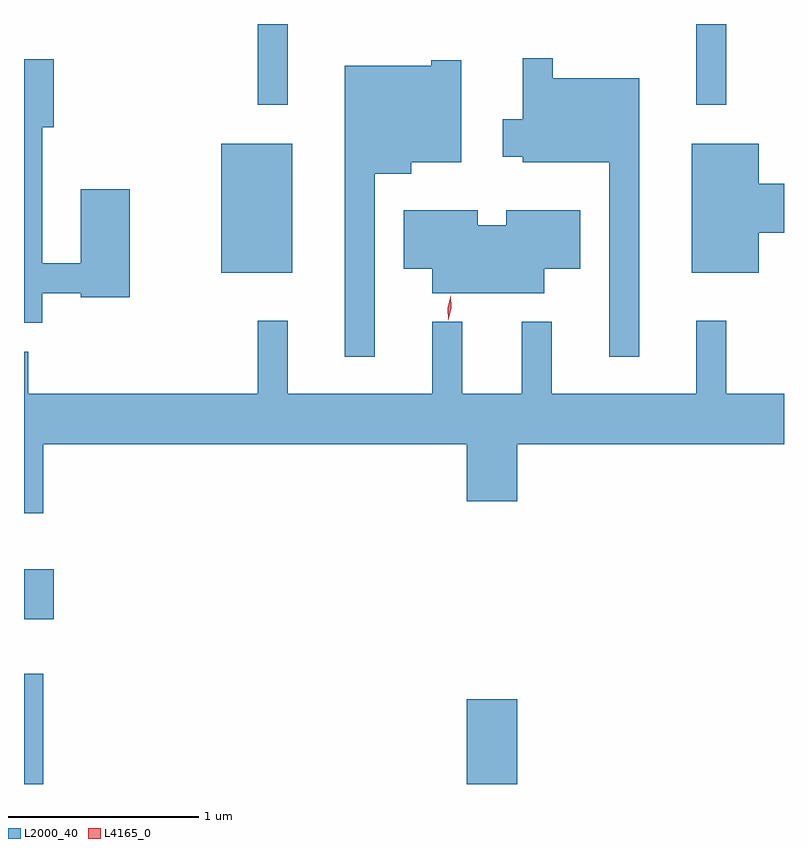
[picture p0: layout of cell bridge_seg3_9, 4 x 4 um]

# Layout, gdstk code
import gdstk
lib = gdstk.Library(unit=1e-6, precision=1e-09)
def R(c, l, rs):  # rectangles x0, y0, x1, y1
    for r in rs: c.add(gdstk.rectangle(r[:2], r[2:], *l))
def P(c, l, *ps):  # polygons
    for p in ps: c.add(gdstk.Polygon(p, *l))
L2000_40 = (2000, 40)
L4165_0 = (4165, 0)

bridge_seg3_9 = lib.new_cell('bridge_seg3_9')
R(bridge_seg3_9, L2000_40, [(1791.167,1204.149,1791.269,1204.728), (1793.496,1204.149,1793.764,1204.594), (1791.167,1205.016,1791.324,1205.279), (1792.206,1206.841,1792.579,1207.519), (1792.396,1207.723,1792.554,1208.149), (1794.706,1207.723,1794.864,1208.149)])
P(bridge_seg3_9, L2000_40, [(1794.404,1207.864),(1793.949,1207.864),(1793.949,1207.968),(1793.791,1207.968),(1793.791,1207.649),(1793.686,1207.649),(1793.686,1207.451),(1793.791,1207.451),(1793.791,1207.421),(1794.246,1207.421),(1794.246,1206.398),(1794.404,1206.398)],
  [(1791.264,1206.731),(1791.466,1206.731),(1791.466,1206.711),(1791.724,1206.711),(1791.724,1207.279),(1791.466,1207.279),(1791.466,1206.889),(1791.264,1206.889),(1791.264,1207.606),(1791.324,1207.606),(1791.324,1207.964),(1791.167,1207.964),(1791.167,1206.576),(1791.264,1206.576)],
  [(1793.014,1207.361),(1793.204,1207.361),(1793.204,1207.421),(1793.469,1207.421),(1793.469,1207.959),(1793.311,1207.959),(1793.311,1207.929),(1792.856,1207.929),(1792.856,1206.398),(1793.014,1206.398)],
  [(1795.034,1207.051),(1795.167,1207.051),(1795.167,1207.309),(1795.034,1207.309),(1795.034,1207.519),(1794.681,1207.519),(1794.681,1206.841),(1795.034,1206.841)],
  [(1793.904,1206.861),(1794.094,1206.861),(1794.094,1207.169),(1793.706,1207.169),(1793.706,1207.089),(1793.554,1207.089),(1793.554,1207.169),(1793.166,1207.169),(1793.166,1206.861),(1793.316,1206.861),(1793.316,1206.731),(1793.904,1206.731)],
  [(1791.269,1205.936),(1793.496,1205.936),(1793.496,1205.636),(1793.764,1205.636),(1793.764,1205.936),(1795.167,1205.936),(1795.167,1206.204),(1794.864,1206.204),(1794.864,1206.588),(1794.706,1206.588),(1794.706,1206.204),(1793.944,1206.204),(1793.944,1206.583),(1793.786,1206.583),(1793.786,1206.204),(1793.474,1206.204),(1793.474,1206.583),(1793.316,1206.583),(1793.316,1206.204),(1792.554,1206.204),(1792.554,1206.588),(1792.396,1206.588),(1792.396,1206.204),(1791.189,1206.204),(1791.189,1206.424),(1791.167,1206.424),(1791.167,1205.573),(1791.269,1205.573)])
P(bridge_seg3_9, L4165_0, [(1793.4,1206.589),(1793.399,1206.59),(1793.397,1206.656),(1793.413,1206.72),(1793.413,1206.72),(1793.414,1206.72),(1793.416,1206.654),(1793.4,1206.59)])

lib.write_gds('bridge_seg3_9.gds')
